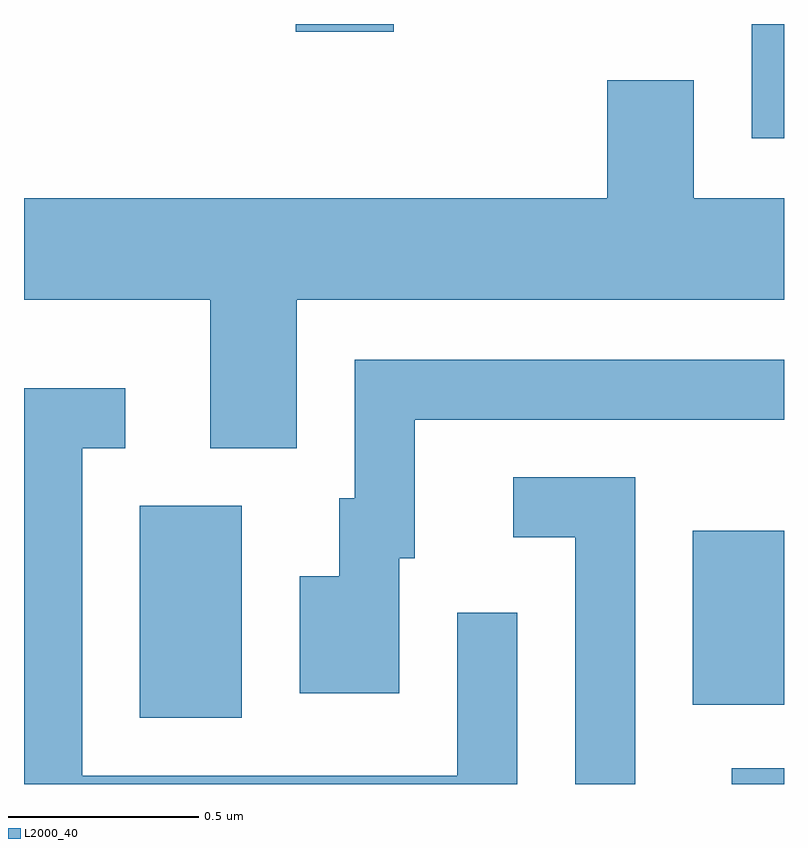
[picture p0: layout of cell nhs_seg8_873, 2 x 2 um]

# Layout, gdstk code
import gdstk
lib = gdstk.Library(unit=1e-6, precision=1e-09)
def R(c, l, rs):  # rectangles x0, y0, x1, y1
    for r in rs: c.add(gdstk.rectangle(r[:2], r[2:], *l))
def P(c, l, *ps):  # polygons
    for p in ps: c.add(gdstk.Polygon(p, *l))
L2000_40 = (2000, 40)

nhs_seg8_873 = lib.new_cell('nhs_seg8_873')
R(nhs_seg8_873, L2000_40, [(193.473,1857.342,193.611,1857.384), (191.916,1857.516,192.184,1858.074), (193.371,1857.551,193.611,1858.009), (193.526,1859.041,193.611,1859.342), (192.326,1859.321,192.584,1859.342)])
P(nhs_seg8_873, L2000_40, [(192.329,1858.616),(193.611,1858.616),(193.611,1858.884),(193.374,1858.884),(193.374,1859.194),(193.146,1859.194),(193.146,1858.884),(191.611,1858.884),(191.611,1858.616),(192.101,1858.616),(192.101,1858.226),(192.329,1858.226)],
  [(192.599,1857.936),(192.639,1857.936),(192.639,1858.301),(193.611,1858.301),(193.611,1858.459),(192.481,1858.459),(192.481,1858.094),(192.441,1858.094),(192.441,1857.889),(192.336,1857.889),(192.336,1857.581),(192.599,1857.581)],
  [(192.909,1857.793),(192.751,1857.793),(192.751,1857.364),(191.764,1857.364),(191.764,1858.226),(191.878,1858.226),(191.878,1858.384),(191.611,1858.384),(191.611,1857.342),(192.909,1857.342)],
  [(193.219,1858.149),(192.898,1858.149),(192.898,1857.991),(193.061,1857.991),(193.061,1857.342),(193.219,1857.342)])

lib.write_gds('nhs_seg8_873.gds')
